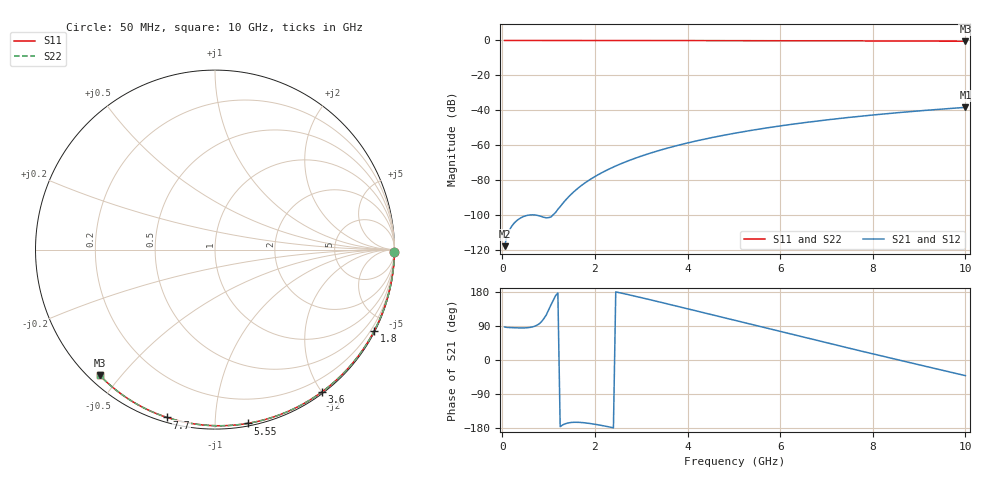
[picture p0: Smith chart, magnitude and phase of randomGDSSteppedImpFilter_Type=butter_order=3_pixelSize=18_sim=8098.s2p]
! freq	dB(S11)	phase(S11)	dB(S12)	phase(S12)
!  dB(S21)	phase(S21)	dB(S22)	phase(S22)
!S-par simulation data
#  GHz  S  DB  R 50
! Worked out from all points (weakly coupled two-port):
!   200 points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, 50 MHz to 10 GHz, reference 50 ohm
!   highest |S21| = -38.31 dB at 10 GHz (marker M1); lowest = -117.8 dB at 50 MHz (marker M2)
!   lowest |S11| = -0.4 dB at 10 GHz (marker M3), VSWR 38.93, Z = 1.53 - j21.9 ohm
!   |S11| at or under -10 dB: nowhere
!   |S22| runs from -0.4 to 0.0 dB; largest |S21 - S12| = 0
!   S11 on the Smith chart (normalised r, x): 50 MHz: open; 1.8 GHz: 0.04, -4.13; 3.6 GHz: 0.02, -2.00; 5.55 GHz: 0.02, -1.20; 7.7 GHz: 0.02, -0.75; 10 GHz: 0.03, -0.44
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0.05  -0.00 -0.8  -117.76 87.1  -117.76 87.1  -0.00 -0.8
0.9  -0.02 -13.7  -101.25 109.7  -101.25 109.7  -0.02 -13.7
1.75  -0.03 -26.4  -82.21 -165.4  -82.21 -165.4  -0.03 -26.5
1.8  -0.03 -27.2  -81.27 -166.0  -81.27 -166.0  -0.03 -27.2
1.85  -0.04 -27.9  -80.38 -166.8  -80.38 -166.8  -0.04 -27.9
1.9  -0.04 -28.7  -79.52 -167.6  -79.52 -167.6  -0.04 -28.7
2.05  -0.04 -30.9  -77.13 -170.6  -77.13 -170.6  -0.04 -30.9
2.25  -0.04 -33.8  -74.32 -175.2  -74.32 -175.2  -0.04 -33.8
2.45  -0.05 -36.7  -71.84 179.8  -71.84 179.8  -0.05 -36.7
2.65  -0.05 -39.6  -69.62 174.4  -69.62 174.4  -0.05 -39.6
3  -0.06 -44.7  -66.20 164.6  -66.20 164.6  -0.06 -44.7
3.4  -0.07 -50.3  -62.87 153.0  -62.87 153.0  -0.07 -50.4
3.6  -0.07 -53.2  -61.38 147.1  -61.38 147.1  -0.07 -53.2
4.3  -0.09 -62.8  -56.87 126.2  -56.87 126.2  -0.09 -62.8
5.05  -0.11 -72.9  -52.95 103.6  -52.95 103.6  -0.11 -72.9
5.55  -0.13 -79.4  -50.72 88.6  -50.72 88.6  -0.13 -79.4
6.1  -0.15 -86.4  -48.55 72.2  -48.55 72.2  -0.15 -86.4
6.7  -0.18 -93.9  -46.45 54.3  -46.45 54.3  -0.18 -93.9
7.7  -0.24 -106.0  -43.47 25.0  -43.47 25.0  -0.24 -106.0
8.35  -0.29 -113.6  -41.80 6.1  -41.80 6.1  -0.29 -113.7
9.15  -0.36 -122.9  -39.99 -16.9  -39.99 -16.9  -0.36 -122.9
10  -0.45 -132.6  -38.31 -41.3  -38.31 -41.3  -0.45 -132.6
